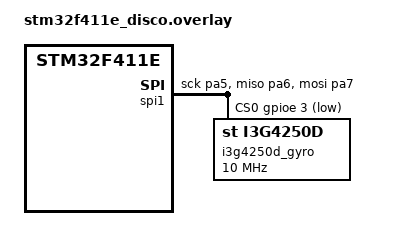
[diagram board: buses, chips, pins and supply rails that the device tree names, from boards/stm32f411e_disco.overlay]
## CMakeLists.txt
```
cmake_minimum_required(VERSION 3.13.1)
find_package(Zephyr REQUIRED HINTS $ENV{ZEPHYR_BASE})

project(app LANGUAGES C)

target_sources(app PRIVATE
	src/main.c
)
```

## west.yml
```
# Copyright (c) 2021 Nordic Semiconductor ASA
# SPDX-License-Identifier: Apache-2.0

manifest:
  self:
    west-commands: scripts/west-commands.yml

  remotes:
    - name: zephyrproject-rtos
      url-base: https://github.com/zephyrproject-rtos

  projects:
    - name: zephyr
      remote: zephyrproject-rtos
      revision: v4.1.0
      import: true
        # By using name-allowlist we can clone only the modules that are
        # strictly needed by the application.
        #name-allowlist:
        #  - cmsis_6    # required by the ARM port for Cortex-M
        #  - hal_nordic # required by the custom_plank board (Nordic based)
        #  - hal_stm32  # required by the nucleo_f302r8 board (STM32 based)
```

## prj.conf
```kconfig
CONFIG_CBPRINTF_FP_SUPPORT=y
CONFIG_STDOUT_CONSOLE=y

CONFIG_FPU=y
CONFIG_FPU_SHARING=y

CONFIG_GPIO=y
CONFIG_SENSOR=y
```

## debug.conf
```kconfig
CONFIG_DEBUG=y
CONFIG_DEBUG_INFO=y
CONFIG_DEBUG_OPTIMIZATIONS=y
CONFIG_DEBUG_THREAD_INFO=y

CONFIG_LOG=y
CONFIG_APP_LOG_LEVEL_DBG=y
```

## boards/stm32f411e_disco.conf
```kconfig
# CONFIG_LIS2DH_TRIGGER_NONE is not set
CONFIG_LIS2DH_TRIGGER_GLOBAL_THREAD=y
# CONFIG_LIS2DH_TRIGGER_OWN_THREAD is not set
# CONFIG_LIS2DH_ACCEL_RANGE_2G is not set
CONFIG_LIS2DH_ACCEL_RANGE_4G=y
# CONFIG_LIS2DH_ACCEL_RANGE_8G is not set
# CONFIG_LIS2DH_ACCEL_RANGE_16G is not set
# CONFIG_LIS2DH_OPER_MODE_HIGH_RES is not set
CONFIG_LIS2DH_OPER_MODE_NORMAL=y
# CONFIG_LIS2DH_OPER_MODE_LOW_POWER is not set
# CONFIG_LIS2DH_ODR_RUNTIME is not set
# CONFIG_LIS2DH_ODR_1 is not set
# 10 Hz config
CONFIG_LIS2DH_ODR_2=y
# CONFIG_LIS2DH_ODR_3 is not set
# CONFIG_LIS2DH_ODR_4 is not set
# CONFIG_LIS2DH_ODR_5 is not set
# CONFIG_LIS2DH_ODR_6 is not set
# CONFIG_LIS2DH_ODR_7 is not set
# CONFIG_LIS2DH_ODR_9_NORMAL is not set
# CONFIG_LIS2DH_ACCEL_HP_FILTERS is not set
# CONFIG_LIS2DH_BLOCK_DATA_UPDATE is not set
# CONFIG_LIS2DH_MEASURE_TEMPERATURE is not set

# CONFIG_LIS2MDL_TRIGGER_NONE is not set
CONFIG_LIS2MDL_TRIGGER_GLOBAL_THREAD=y
# CONFIG_LIS2MDL_TRIGGER_OWN_THREAD is not set
CONFIG_LIS2MDL_MAG_ODR_RUNTIME=y
```

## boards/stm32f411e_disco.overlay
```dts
/ {
	aliases {
		gyro0 = &i3g4250d_gyro;
	};
};

&spi1 {
	pinctrl-0 = <&spi1_sck_pa5 &spi1_miso_pa6 &spi1_mosi_pa7>;
	pinctrl-names = "default";
	status = "okay";

	cs-gpios = <&gpioe 3 GPIO_ACTIVE_LOW>;

	i3g4250d_gyro: i3g4250d-gyro@0 {
		// PE0 INT1 / PE1 INT2 / PE3 CS
		compatible = "st,i3g4250d";
		spi-max-frequency = <10000000>;
		status = "okay";
		reg = <0>;
	};
};
```

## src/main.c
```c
#include <stdio.h>

#include <zephyr/kernel.h>

#include <zephyr/drivers/gpio.h>
#include <zephyr/drivers/sensor.h>
#include <zephyr/logging/log.h>

#include <app_version.h>

#define SLEEP_TIME_MS 50

LOG_MODULE_REGISTER(main, CONFIG_APP_LOG_LEVEL);

/* The devicetree node identifier for the "led0" alias. */
#define LED0_NODE DT_ALIAS(led0)

static const struct gpio_dt_spec led = GPIO_DT_SPEC_GET(LED0_NODE, gpios);
static const struct device *const accel = DEVICE_DT_GET(DT_ALIAS(accel0));
static const struct device *const gyro = DEVICE_DT_GET(DT_ALIAS(gyro0));
static const struct device *const magn = DEVICE_DT_GET(DT_ALIAS(magn0));

K_SEM_DEFINE(accel_sem, 0, 1); /* starts off "not available" */
//K_SEM_DEFINE(gyro_sem, 0, 1); /* starts off "not available" */
K_SEM_DEFINE(magn_sem, 0, 1); /* starts off "not available" */

static void trigger_handler(const struct device *dev, const struct sensor_trigger *trigger)
{
  ARG_UNUSED(trigger);

  /* Always fetch the sample to clear the data ready interrupt in the
   * sensor.
   */
  if (sensor_sample_fetch(dev)) {
    printf("sensor_sample_fetch failed\n");
    return;
  }

  if (dev == accel) {
    k_sem_give(&accel_sem);
//  } else if (dev == gryo) {
//    k_sem_give(&gyro_sem);
  } else if (dev == magn) {
    k_sem_give(&magn_sem);
  }
}

int main(void)
{
  int ret;

	printk("Zephyr Example Application %s\n", APP_VERSION_STRING);

  bool led_state = true;

  // LED Initialization

  if (!gpio_is_ready_dt(&led)) {
    printf("GPIO %s is not ready\n", led.port->name);
    return 0;
  }

  if(gpio_pin_configure_dt(&led, GPIO_OUTPUT_ACTIVE) < 0) {
    printf("GPIO %s cannot be configured\n", led.port->name);
    return 0;
  }

  // Accelerometer initialization

  struct sensor_trigger accel_trig = {
    .type = SENSOR_TRIG_DATA_READY,
    .chan = SENSOR_CHAN_ACCEL_XYZ,
  };

  if (!device_is_ready(accel)) {
    printf("Device %s is not ready\n", accel->name);
    return 0;
  }

  if (sensor_trigger_set(accel, &accel_trig, trigger_handler)) {
    printf("Could not set trigger\n");
    return 0;
  }

  // Magnetometer initialization

  struct sensor_trigger magn_trig = {
          .type = SENSOR_TRIG_DATA_READY,
          .chan = SENSOR_CHAN_MAGN_XYZ,
  };

  if (!device_is_ready(magn)) {
    printf("Device %s is not ready\n", magn->name);
    return 0;
  }

  if (sensor_trigger_set(magn, &magn_trig, trigger_handler)) {
    printf("Could not set trigger\n");
    return 0;
  }

  // Magnetometer initialization

  // struct sensor_trigger gyro_trig = {
  //   .type = SENSOR_TRIG_DATA_READY,
  //   .chan = SENSOR_CHAN_GYRO_XYZ,
  // };

  if (!device_is_ready(gyro)) {
    printf("Device %s is not ready\n", magn->name);
    return 0;
  }

  struct sensor_value gyro_odr = { 0 };
  sensor_value_from_double(&gyro_odr, 100.0);
  if (!sensor_attr_set(gyro, SENSOR_CHAN_GYRO_XYZ, SENSOR_ATTR_SAMPLING_FREQUENCY, &gyro_odr)) {
    printf("Could not configure gyro\n");
  }

  // if (sensor_trigger_set(gyro, &gyro_trig, trigger_handler)) {
  //   printf("Could not set trigger\n");
  //   return 0;
  // }

  // LED toggle & processing

  struct sensor_value data[3];

  while (1) {
    if (gpio_pin_toggle_dt(&led) < 0) {
      printf("GPIO %s cannot be toggled\n", led.port->name);
      return 0;
    }

    led_state = !led_state;
    //printf("LED state: %s\n", led_state ? "ON" : "OFF");

    if (k_sem_take(&accel_sem, K_NO_WAIT)) {
      sensor_channel_get(accel, SENSOR_CHAN_ACCEL_XYZ, data);

      /* Print accel x,y,z data */
      printf("accel [m/s^2]: (%12.6f, %12.6f, %12.6f)\n",
             sensor_value_to_double(&data[0]), sensor_value_to_double(&data[1]),
             sensor_value_to_double(&data[2]));

      sensor_sample_fetch(gyro);
      if (sensor_channel_get(gyro, SENSOR_CHAN_GYRO_XYZ, data) == 0)
      {
        /* Print gyro x,y,z data, but only if available */
        printf("gyro [rad/s]:  (%12.6f, %12.6f, %12.6f)\n",
               sensor_value_to_double(&data[0]), sensor_value_to_double(&data[1]),
               sensor_value_to_double(&data[2]));
      }
    }

    if (k_sem_take(&magn_sem, K_NO_WAIT)) {
      sensor_channel_get(magn, SENSOR_CHAN_MAGN_XYZ, data);

      /* Print magnetometer x,y,z data */
      printf("magn  [G]:     (%12.6f, %12.6f, %12.6f)\n",
             sensor_value_to_double(&data[0]), sensor_value_to_double(&data[1]),
             sensor_value_to_double(&data[2]));
    }

    k_msleep(SLEEP_TIME_MS);
  }
  return 0;
}
```
